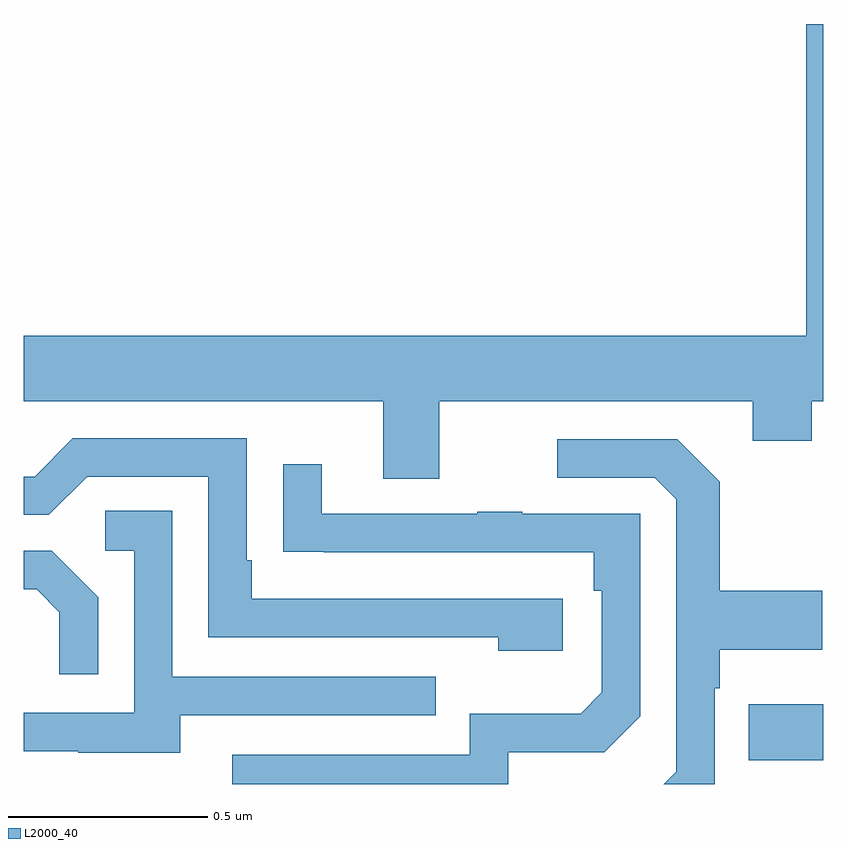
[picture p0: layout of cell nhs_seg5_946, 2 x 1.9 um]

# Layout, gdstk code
import gdstk
lib = gdstk.Library(unit=1e-6, precision=1e-09)
def R(c, l, rs):  # rectangles x0, y0, x1, y1
    for r in rs: c.add(gdstk.rectangle(r[:2], r[2:], *l))
def P(c, l, *ps):  # polygons
    for p in ps: c.add(gdstk.Polygon(p, *l))
L2000_40 = (2000, 40)

nhs_seg5_946 = lib.new_cell('nhs_seg5_946')
R(nhs_seg5_946, L2000_40, [(124.813,859.859,125,859.999)])
P(nhs_seg5_946, L2000_40, [(124.039,860.756),(124.823,860.756),(124.823,860.657),(124.971,860.657),(124.971,860.756),(125,860.756),(125,861.7),(124.958,861.7),(124.958,860.92),(123,860.92),(123,860.756),(123.899,860.756),(123.899,860.562),(124.039,860.562)],
  [(124.348,860.262),(123.571,860.262),(123.571,860.359),(123.558,860.359),(123.558,860.664),(123.123,860.664),(123.027,860.568),(123,860.568),(123,860.472),(123.063,860.472),(123.159,860.568),(123.462,860.568),(123.462,860.166),(124.187,860.166),(124.187,860.132),(124.348,860.132)],
  [(124.728,860.039),(124.741,860.039),(124.741,860.135),(124.997,860.135),(124.997,860.283),(124.741,860.283),(124.741,860.555),(124.635,860.661),(124.335,860.661),(124.335,860.565),(124.578,860.565),(124.632,860.511),(124.632,859.83),(124.601,859.799),(124.728,859.799)],
  [(124.212,859.878),(124.452,859.878),(124.542,859.968),(124.542,860.475),(124.247,860.475),(124.247,860.48),(124.135,860.48),(124.135,860.475),(123.745,860.475),(123.745,860.599),(123.649,860.599),(123.649,860.38),(123.751,860.38),(123.751,860.379),(124.426,860.379),(124.426,860.282),(124.446,860.282),(124.446,860.028),(124.393,859.975),(124.116,859.975),(124.116,859.872),(123.521,859.872),(123.521,859.799),(124.212,859.799)],
  [(123.391,859.971),(124.031,859.971),(124.031,860.067),(123.372,860.067),(123.372,860.483),(123.204,860.483),(123.204,860.382),(123.276,860.382),(123.276,859.977),(123,859.977),(123,859.881),(123.137,859.881),(123.137,859.877),(123.391,859.877)],
  [(123.186,860.266),(123.07,860.382),(123,860.382),(123,860.286),(123.032,860.286),(123.089,860.229),(123.089,860.073),(123.186,860.073)])

lib.write_gds('nhs_seg5_946.gds')
